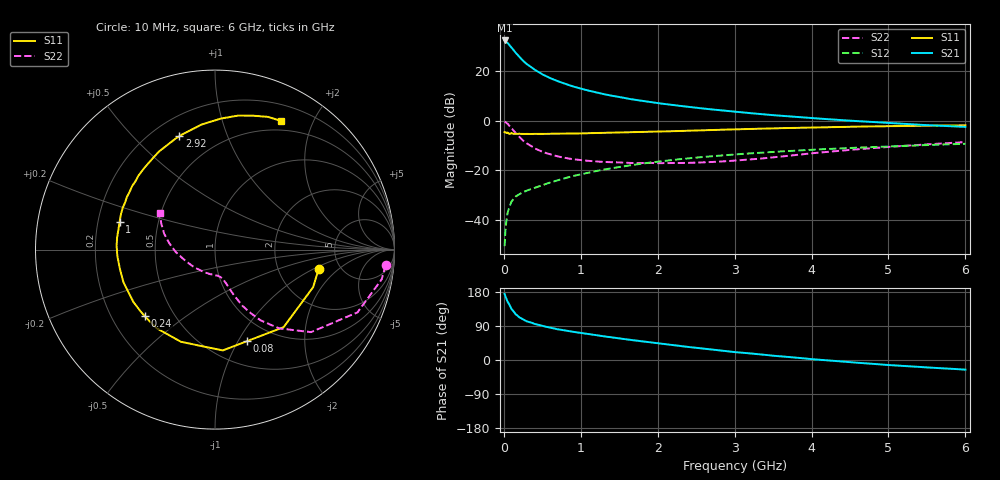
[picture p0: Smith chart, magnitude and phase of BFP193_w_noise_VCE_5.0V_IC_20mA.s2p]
! Infineon Technologies  Discrete & RF Semiconductors
! BFP193
! VCE = 5.0 V,  IC =  20 mA
! Common Emitter S-Parameters:  Jan 2016
# GHz  S  MA  R  50
!  f  S11  S21  S12  S22
! GHz  MAG  ANG  MAG  ANG  MAG  ANG  MAG  ANG
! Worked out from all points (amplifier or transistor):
!   210 points, 10 MHz to 6 GHz, reference 50 ohm
!   highest |S21| = 32.4 dB at 10 MHz (marker M1)
!   |S21| within 3 dB of that: start of sweep to 104 MHz
!   unconditionally stable (mu >= 1): 806.2 MHz to 3.814 GHz
!   at 185 MHz: K = 0.47, MSG = 28.2 dB, |S12| = -30.1 dB
!   at 1.52 GHz: K = 1.07, MAG = 12.4 dB, |S12| = -18.6 dB
!   at 6 GHz: K = 0.92, MSG = 3.4 dB, |S12| = -9.3 dB
!   lowest NFmin = 1.40 dB at 450 MHz
!   S11 on the Smith chart (normalised r, x): 10 MHz: 3.44, -1.14; 80 MHz: 0.76, -1.09; 240 MHz: 0.34, -0.36; 1 GHz: 0.29, +0.13; 2.92 GHz: 0.31, +0.69; 6 GHz: 0.38, +1.57
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0.01  0.5877 -10.6  41.9 174.6  0.0029 85.0  0.9549 -5.2
0.02  0.5853 -21.0  40.61 167.9  0.0058 79.3  0.9432 -10.1
0.05  0.5769 -48.5  37.37 153.3  0.0139 71.4  0.8675 -23.8
0.08  0.5404 -70.7  32.63 142.9  0.0194 62.5  0.7618 -33.1
0.1  0.5635 -85.6  30.21 134.4  0.0232 59.0  0.7052 -40.7
0.15  0.5476 -110.2  23.95 121.2  0.029 52.1  0.5665 -50.8
0.2  0.546 -126.9  19.59 112.9  0.0325 50.8  0.4693 -57.2
0.24  0.5391 -136.4  16.88 108.0  0.0351 49.7  0.4098 -60.4
0.3  0.5403 -147.4  13.88 101.9  0.0386 49.9  0.3462 -64.1
0.4  0.5417 -160.4  10.74 95.3  0.0439 51.3  0.2759 -67.4
0.5  0.5407 -168.7  8.663 89.9  0.0497 53.2  0.2341 -69.5
0.6  0.5453 -176.2  7.288 85.3  0.0561 54.5  0.2081 -71.0
0.7  0.5486 177.8  6.293 81.1  0.0621 55.8  0.1895 -72.7
1  0.5543 163.7  4.442 71.2  0.0819 56.5  0.1595 -77.3
1.02  0.5552 162.9  4.364 70.6  0.0832 56.5  0.1584 -77.7
1.4  0.5719 149.1  3.198 59.8  0.1089 55.3  0.1449 -86.3
2.02  0.6031 130.1  2.245 43.8  0.1498 49.9  0.1382 -105.8
2.92  0.6622 107.4  1.562 22.8  0.2032 40.1  0.1526 -141.2
3.1  0.6727 103.7  1.47 19.2  0.2129 38.1  0.1596 -148.2
4.1  0.7349 86.0  1.102 0.8  0.2629 27.0  0.2258 -179.0
5.1  0.7791 72.9  0.884 -14.5  0.3053 16.3  0.3026 161.0
6  0.8063 62.7  0.749 -25.5  0.3413 6.8  0.369 146.8
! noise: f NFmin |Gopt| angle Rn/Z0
0.45  1.4  0.3  160  0.1
0.9  1.45  0.34  172  0.11
1.8  2.2  0.56  -148  0.2
